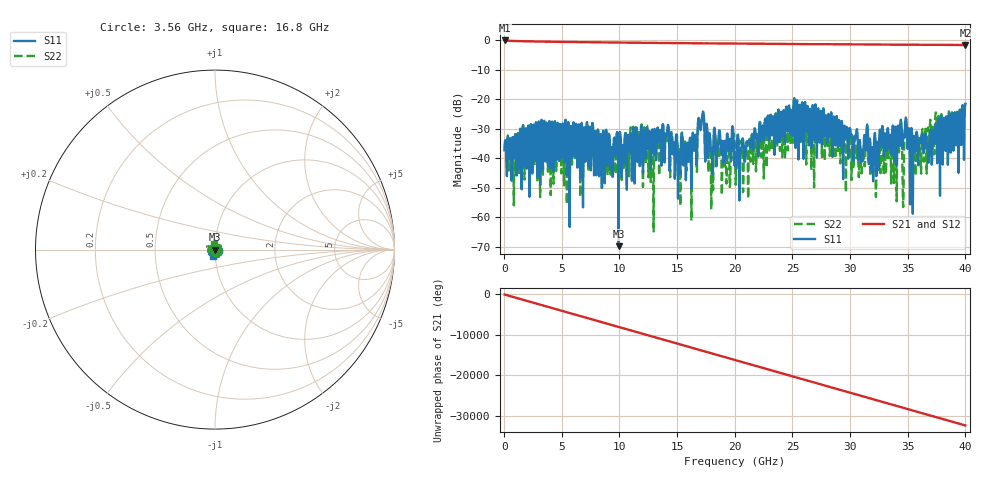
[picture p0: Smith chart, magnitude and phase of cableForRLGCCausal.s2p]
# MHz MA S R 50.0
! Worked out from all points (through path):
!   1000 points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, 40 MHz to 40 GHz, reference 50 ohm
!   highest |S21| = -0.03 dB at 40 MHz (marker M1); lowest = -1.6 dB at 40 GHz (marker M2)
!   lowest |S11| = -69.7 dB at 9.92 GHz (marker M3), VSWR 1.00, Z = 50 - j0.00934 ohm
!   |S11| at or under -10 dB: start of sweep to end of sweep
!   |S22| runs from -64.8 to -19.6 dB; largest |S21 - S12| = 0.0019
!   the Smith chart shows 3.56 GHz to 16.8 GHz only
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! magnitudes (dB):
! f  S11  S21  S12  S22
! 40 MHz  -37.2  0.0  0.0  -37.5
! 3.36 GHz  -43.8  -0.4  -0.4  -46.4
! 6.72 GHz  -27.9  -0.6  -0.6  -29.0
! 9.92 GHz  -69.7  -0.7  -0.7  -38.7
! 13.36 GHz  -31.3  -0.9  -0.9  -30.9
! 16.12 GHz  -33.0  -1.0  -1.0  -34.4
! 17.12 GHz  -27.9  -1.0  -1.0  -27.2
! 17.92 GHz  -37.6  -1.0  -1.0  -39.3
! 18.36 GHz  -39.3  -1.0  -1.0  -35.3
! 19.08 GHz  -35.1  -1.1  -1.0  -42.7
! 20.04 GHz  -37.9  -1.1  -1.1  -39.9
! 25.28 GHz  -36.5  -1.2  -1.2  -27.7
! 26.68 GHz  -28.2  -1.3  -1.3  -29.3
! 29.4 GHz  -47.0  -1.3  -1.3  -35.5
! 30.92 GHz  -39.0  -1.4  -1.4  -40.4
! 33.36 GHz  -35.1  -1.4  -1.4  -39.8
! 34.28 GHz  -35.9  -1.5  -1.5  -34.2
! 34.72 GHz  -33.0  -1.5  -1.5  -32.3
! 34.92 GHz  -29.7  -1.5  -1.5  -31.1
! 35.36 GHz  -30.9  -1.5  -1.5  -31.6
! 36.92 GHz  -31.7  -1.5  -1.5  -28.9
! 40 GHz  -21.5  -1.6  -1.6  -21.4
